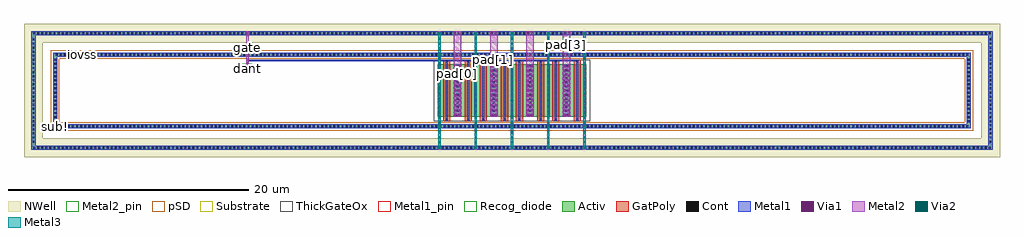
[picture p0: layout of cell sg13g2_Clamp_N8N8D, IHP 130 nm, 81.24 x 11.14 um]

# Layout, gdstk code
import gdstk
lib = gdstk.Library(unit=1e-6, precision=5e-09)
def R(c, l, rs):  # rectangles x0, y0, x1, y1
    for r in rs: c.add(gdstk.rectangle(r[:2], r[2:], *l))
def A(c, l, x, y, w, h, nx, ny, dx, dy):  # array of equal rectangles
    R(c, l, [(x+i*dx, y+j*dy, x+i*dx+w, y+j*dy+h) for i in range(nx) for j in range(ny)])
def P(c, l, *ps):  # polygons
    for p in ps: c.add(gdstk.Polygon(p, *l))
Activ = (1, 0)
GatPoly = (5, 0)
Cont = (6, 0)
Metal1 = (8, 0)
Metal1_pin = (8, 2)
Metal2 = (10, 0)
Metal2_pin = (10, 2)
pSD = (14, 0)
Via1 = (19, 0)
Via2 = (29, 0)
Metal3 = (30, 0)
NWell = (31, 0)
Substrate = (40, 0)
ThickGateOx = (44, 0)
Recog_diode = (99, 31)

sg13g2_clamp_n8n8d = lib.new_cell('sg13g2_Clamp_N8N8D')
R(sg13g2_clamp_n8n8d, Activ, [(33.81,2.75,46.19,7.15), (17.585,6.36,18.365,7.14)])
P(sg13g2_clamp_n8n8d, Activ, [(1.8,1.8),(1.8,7.76),(2.14,7.76),(2.14,2.14),(77.86,2.14),(77.86,7.76),(1.8,7.76),(1.8,8.1),(78.2,8.1),(78.2,1.8)],
  [(0,0),(0,9.56),(0.34,9.56),(0.34,0.34),(79.66,0.34),(79.66,9.56),(0,9.56),(0,9.9),(80,9.9),(80,0)])
R(sg13g2_clamp_n8n8d, GatPoly, [(34.28,2.38,34.88,7.52), (36.06,2.38,36.66,7.52), (37.3,2.38,37.9,7.52), (39.08,2.38,39.68,7.52), (40.32,2.38,40.92,7.52), (42.1,2.38,42.7,7.52), (43.34,2.38,43.94,7.52), (45.12,2.38,45.72,7.52)])
A(sg13g2_clamp_n8n8d, Cont, 0.14, 0.09, 0.16, 0.16, 235, 2, 0.34, 9.56)
A(sg13g2_clamp_n8n8d, Cont, 0.09, 0.62, 0.16, 0.16, 1, 26, 0, 0.34)
A(sg13g2_clamp_n8n8d, Cont, 79.75, 0.62, 0.16, 0.16, 1, 26, 0, 0.34)
A(sg13g2_clamp_n8n8d, Cont, 2.01, 1.89, 0.16, 0.16, 224, 2, 0.34, 5.96)
A(sg13g2_clamp_n8n8d, Cont, 1.89, 2.32, 0.16, 0.16, 1, 16, 0, 0.34)
A(sg13g2_clamp_n8n8d, Cont, 77.95, 2.32, 0.16, 0.16, 1, 16, 0, 0.34)
A(sg13g2_clamp_n8n8d, Cont, 33.88, 2.83, 0.16, 0.16, 9, 13, 1.51, 0.34)
R(sg13g2_clamp_n8n8d, Cont, [(34.5,2.45,34.66,2.61), (36.28,2.45,36.44,2.61), (37.52,2.45,37.68,2.61), (39.3,2.45,39.46,2.61), (40.54,2.45,40.7,2.61), (42.32,2.45,42.48,2.61), (43.56,2.45,43.72,2.61), (45.34,2.45,45.5,2.61), (17.725,6.5,17.885,6.66), (18.065,6.5,18.225,6.66), (17.725,6.84,17.885,7), (18.065,6.84,18.225,7), (34.5,7.29,34.66,7.45), (36.28,7.29,36.44,7.45), (37.52,7.29,37.68,7.45), (39.3,7.29,39.46,7.45), (40.54,7.29,40.7,7.45), (42.32,7.29,42.48,7.45), (43.56,7.29,43.72,7.45), (45.34,7.29,45.5,7.45)])
A(sg13g2_clamp_n8n8d, Metal1, 33.855, 1.8, 0.21, 0.34, 5, 2, 3.02, 5.96)
A(sg13g2_clamp_n8n8d, Metal1, 33.855, 2.75, 0.21, 4.4, 5, 1, 3.02, 0)
A(sg13g2_clamp_n8n8d, Metal1, 35.16, 2.75, 0.62, 4.4, 4, 1, 3.02, 0)
R(sg13g2_clamp_n8n8d, Metal1, [(17.675,6.5,18.275,7)])
P(sg13g2_clamp_n8n8d, Metal1, [(1.8,1.8),(1.8,7.76),(2.14,7.76),(2.14,2.14),(77.86,2.14),(77.86,7.76),(1.8,7.76),(1.8,8.1),(78.2,8.1),(78.2,1.8)],
  [(0,0),(0,9.56),(0.34,9.56),(0.34,0.34),(79.66,0.34),(79.66,9.56),(0,9.56),(0,9.9),(80,9.9),(80,0)],
  [(34.5,2.37),(34.5,7.37),(18.08,7.37),(18.08,6.5),(17.87,6.5),(17.87,7.53),(45.5,7.53),(45.5,2.37),(45.34,2.37),(45.34,7.37),(43.72,7.37),(43.72,2.37),(43.56,2.37),(43.56,7.37),(42.48,7.37),(42.48,2.37),(42.32,2.37),(42.32,7.37),(40.7,7.37),(40.7,2.37),(40.54,2.37),(40.54,7.37),(39.46,7.37),(39.46,2.37),(39.3,2.37),(39.3,7.37),(37.68,7.37),(37.68,2.37),(37.52,2.37),(37.52,7.37),(36.44,7.37),(36.44,2.37),(36.28,2.37),(36.28,7.37),(34.66,7.37),(34.66,2.37)])
R(sg13g2_clamp_n8n8d, Metal1_pin, [(3.68,7.85,4.73,8.1)])
A(sg13g2_clamp_n8n8d, Metal2, 33.86, 0, 0.2, 9.9, 5, 1, 3.02, 0)
A(sg13g2_clamp_n8n8d, Metal2, 35.165, 2.755, 0.61, 7.145, 4, 1, 3.02, 0)
R(sg13g2_clamp_n8n8d, Metal2, [(17.875,6.665,18.075,9.9)])
A(sg13g2_clamp_n8n8d, Metal2_pin, 35.165, 2.755, 0.61, 7.145, 4, 1, 3.02, 0)
R(sg13g2_clamp_n8n8d, Metal2_pin, [(17.875,6.665,18.075,9.9)])
P(sg13g2_clamp_n8n8d, pSD, [(1.62,1.62),(1.62,7.58),(2.32,7.58),(2.32,2.32),(77.68,2.32),(77.68,7.58),(1.62,7.58),(1.62,8.28),(78.38,8.28),(78.38,1.62)])
A(sg13g2_clamp_n8n8d, Via1, 33.865, 1.875, 0.19, 0.19, 5, 2, 3.02, 5.96)
A(sg13g2_clamp_n8n8d, Via1, 33.865, 2.805, 0.19, 0.19, 1, 11, 0, 0.41)
A(sg13g2_clamp_n8n8d, Via1, 35.17, 2.805, 0.19, 0.19, 1, 11, 0, 0.41)
A(sg13g2_clamp_n8n8d, Via1, 35.58, 2.805, 0.19, 0.19, 3, 11, 1.305, 0.41)
A(sg13g2_clamp_n8n8d, Via1, 38.6, 2.805, 0.19, 0.19, 3, 11, 1.305, 0.41)
A(sg13g2_clamp_n8n8d, Via1, 41.62, 2.805, 0.19, 0.19, 3, 11, 1.305, 0.41)
A(sg13g2_clamp_n8n8d, Via1, 44.64, 2.805, 0.19, 0.19, 1, 11, 0, 0.41)
A(sg13g2_clamp_n8n8d, Via1, 45.945, 2.805, 0.19, 0.19, 1, 11, 0, 0.41)
R(sg13g2_clamp_n8n8d, Via1, [(17.88,6.715,18.07,6.905), (17.88,7.125,18.07,7.315)])
A(sg13g2_clamp_n8n8d, Via2, 33.865, 0.14, 0.19, 0.19, 5, 24, 3.02, 0.41)
A(sg13g2_clamp_n8n8d, Metal3, 33.86, 0.09, 0.2, 9.72, 5, 1, 3.02, 0)
P(sg13g2_clamp_n8n8d, NWell, [(-0.62,-0.62),(-0.62,8.94),(0.96,8.94),(0.96,0.96),(79.04,0.96),(79.04,8.94),(-0.62,8.94),(-0.62,10.52),(80.62,10.52),(80.62,-0.62)])
P(sg13g2_clamp_n8n8d, Substrate, [(1.8,1.8),(1.8,7.76),(2.14,7.76),(2.14,2.14),(77.86,2.14),(77.86,7.76),(1.8,7.76),(1.8,8.1),(78.2,8.1),(78.2,1.8)])
R(sg13g2_clamp_n8n8d, ThickGateOx, [(33.47,2.41,46.53,7.49)])
R(sg13g2_clamp_n8n8d, Recog_diode, [(17.565,6.34,18.385,7.16)])
sg13g2_clamp_n8n8d.add(gdstk.Label('pad[0]', (35.47,6.33), layer=10, texttype=25))
sg13g2_clamp_n8n8d.add(gdstk.Label('pad[1]', (38.45,7.55), layer=10, texttype=25))
sg13g2_clamp_n8n8d.add(gdstk.Label('pad[2]', (41.505,8.235), layer=10, texttype=25))
sg13g2_clamp_n8n8d.add(gdstk.Label('pad[3]', (44.56,8.745), layer=10, texttype=25))
sg13g2_clamp_n8n8d.add(gdstk.Label('gate', (17.965,8.51), layer=10, texttype=25))
sg13g2_clamp_n8n8d.add(gdstk.Label('sub!', (1.97,1.97), layer=63, texttype=0))
sg13g2_clamp_n8n8d.add(gdstk.Label('dant', (17.975,6.75), layer=63, texttype=0))
sg13g2_clamp_n8n8d.add(gdstk.Label('iovss', (4.21,7.93), layer=8, texttype=25))

lib.write_gds('sg13g2_Clamp_N8N8D.gds')
